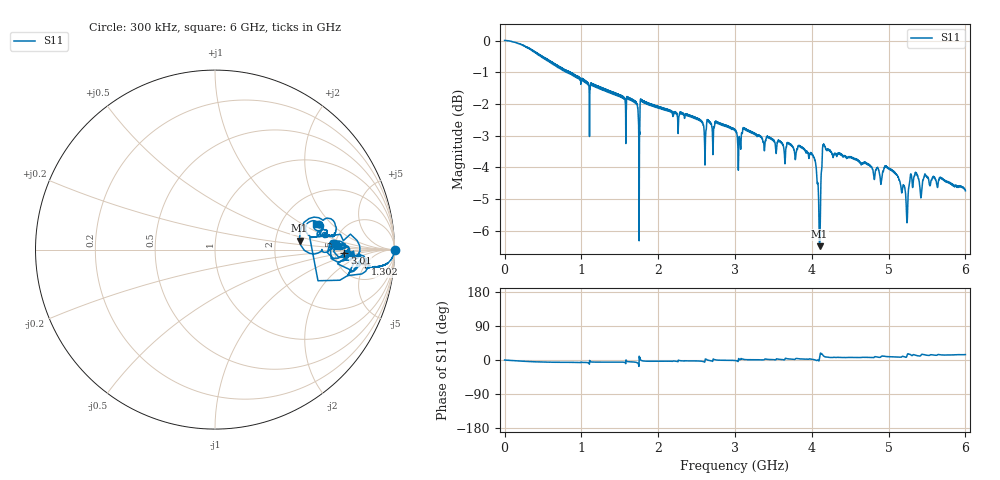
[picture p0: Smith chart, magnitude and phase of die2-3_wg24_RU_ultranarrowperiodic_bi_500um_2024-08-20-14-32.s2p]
!Keysight Technologies,P9374A,MY57304198,A.17.20.09
!Date: Tuesday, August 20, 2024 14:32:45
!Correction: S11(C  1-Port  )
!S21(C  1-Port  )
!S12(Off)
!S22(Off)
!S2P File: Measurements: S11, S21, S12, S22:
# Hz S  dB  R 50
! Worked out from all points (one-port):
!   6000 points, 300 kHz to 6 GHz, reference 50 ohm
!   lowest |S11| = -6.5 dB at 4.101 GHz (marker M1), VSWR 2.80, Z = 137 + j17.6 ohm
!   |S11| at or under -10 dB: nowhere
!   S11 on the Smith chart (normalised r, x): 300 kHz: open; 1.302 GHz: 8.75, -4.78; 3.01 GHz: 6.11, -0.51; 6 GHz: 3.12, +1.34
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300000  0.00 -0.0  -200.00 45.0  -200.00 45.0  -200.00 45.0
4.153484e8  -0.39 -4.8  -200.00 45.0  -200.00 45.0  -200.00 45.0
1.000417e9  -1.19 -6.0  -200.00 45.0  -200.00 45.0  -200.00 45.0
1.302452e9  -1.53 -5.5  -200.00 45.0  -200.00 45.0  -200.00 45.0
1.683496e9  -1.95 -5.3  -200.00 45.0  -200.00 45.0  -200.00 45.0
1.734502e9  -2.13 -8.4  -200.00 45.0  -200.00 45.0  -200.00 45.0
1.781508e9  -1.91 -1.3  -200.00 45.0  -200.00 45.0  -200.00 45.0
2.000533e9  -2.09 -3.3  -200.00 45.0  -200.00 45.0  -200.00 45.0
2.578601e9  -2.59 -3.4  -200.00 45.0  -200.00 45.0  -200.00 45.0
2.74362e9  -2.59 0.6  -200.00 45.0  -200.00 45.0  -200.00 45.0
3.00065e9  -2.85 -1.3  -200.00 45.0  -200.00 45.0  -200.00 45.0
3.009651e9  -2.85 -1.6  -200.00 45.0  -200.00 45.0  -200.00 45.0
3.075659e9  -3.39 2.9  -200.00 45.0  -200.00 45.0  -200.00 45.0
4.000767e9  -3.57 1.9  -200.00 45.0  -200.00 45.0  -200.00 45.0
4.068775e9  -4.49 -0.8  -200.00 45.0  -200.00 45.0  -200.00 45.0
4.100778e9  -6.49 6.0  -200.00 45.0  -200.00 45.0  -200.00 45.0
4.133782e9  -3.86 15.8  -200.00 45.0  -200.00 45.0  -200.00 45.0
4.173787e9  -3.36 8.3  -200.00 45.0  -200.00 45.0  -200.00 45.0
5.000883e9  -4.02 8.5  -200.00 45.0  -200.00 45.0  -200.00 45.0
5.241912e9  -5.72 13.1  -200.00 45.0  -200.00 45.0  -200.00 45.0
5.361926e9  -4.18 11.9  -200.00 45.0  -200.00 45.0  -200.00 45.0
6e9  -4.74 14.3  -200.00 45.0  -200.00 45.0  -200.00 45.0
